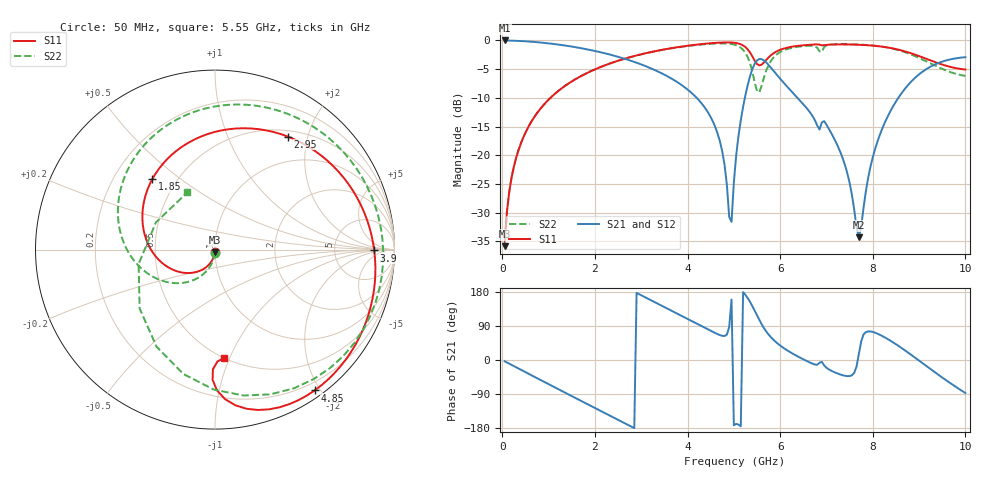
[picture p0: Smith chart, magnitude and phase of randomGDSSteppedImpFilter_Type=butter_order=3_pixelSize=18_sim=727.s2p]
! freq	dB(S11)	phase(S11)	dB(S12)	phase(S12)
!  dB(S21)	phase(S21)	dB(S22)	phase(S22)
!S-par simulation data
#  GHz  S  DB  R 50
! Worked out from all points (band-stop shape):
!   200 points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, 50 MHz to 10 GHz, reference 50 ohm
!   highest |S21| = -0.01 dB at 50 MHz (marker M1); lowest = -34.3 dB at 7.7 GHz (marker M2)
!   |S21| within 3 dB of the highest: start of sweep to 2.566 GHz; 9.896 GHz to end of sweep
!   lowest |S11| = -35.8 dB at 50 MHz (marker M3), VSWR 1.03, Z = 49.9 - j1.61 ohm
!   |S11| at or under -10 dB: start of sweep to 1.04 GHz
!   |S22| runs from -35.8 to -0.5 dB; largest |S21 - S12| = 0
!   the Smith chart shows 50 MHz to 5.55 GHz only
!   S11 on the Smith chart (normalised r, x): 50 MHz: 1.00, -0.03; 1.85 GHz: 0.37, +0.40; 2.95 GHz: 0.58, +1.68; 3.9 GHz: 17, -1; 4.85 GHz: 0.09, -1.93; 5.55 GHz: 0.50, -0.95
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0.05  -35.83 -93.8  -0.01 -3.3  -0.01 -3.3  -35.81 -92.5
0.2  -23.89 -105.5  -0.04 -12.9  -0.04 -12.9  -23.88 -100.7
0.5  -16.07 -128.5  -0.15 -32.0  -0.15 -32.0  -16.05 -116.6
1.75  -6.00 138.9  -1.43 -111.0  -1.43 -111.0  -5.99 177.5
1.85  -5.60 131.8  -1.58 -117.2  -1.58 -117.2  -5.59 172.1
2.95  -2.51 57.2  -4.03 174.0  -4.03 174.0  -2.52 109.0
3.4  -1.71 29.2  -5.56 145.9  -5.56 145.9  -1.73 80.8
3.9  -1.04 -0.3  -7.93 114.7  -7.93 114.7  -1.08 47.6
4.55  -0.46 -37.1  -14.16 74.0  -14.16 74.0  -0.56 -0.6
4.85  -0.34 -54.7  -25.18 67.0  -25.18 67.0  -0.55 -28.3
4.95  -0.36 -61.0  -31.61 159.5  -31.61 159.5  -0.64 -39.5
5.05  -0.45 -67.7  -20.07 -168.6  -20.07 -168.6  -0.85 -52.7
5.3  -1.56 -86.1  -7.76 163.2  -7.76 163.2  -2.91 -104.3
5.45  -3.52 -91.0  -4.06 130.0  -4.06 130.0  -7.27 -169.3
5.55  -4.35 -85.1  -3.23 105.6  -3.23 105.6  -9.02 115.8
5.95  -1.81 -88.7  -6.19 43.0  -6.19 43.0  -2.29 -11.7
6.7  -0.73 -127.2  -13.19 -9.7  -13.19 -9.7  -0.96 -78.5
7.3  -0.69 -159.4  -19.45 -38.3  -19.45 -38.3  -0.65 -111.9
7.7  -0.76 175.5  -34.31 15.4  -34.31 15.4  -0.72 -137.2
8.35  -1.27 125.0  -12.80 53.3  -12.80 53.3  -1.30 177.5
9.15  -3.18 48.2  -5.02 -15.3  -5.02 -15.3  -3.63 109.4
10  -5.07 -18.8  -2.92 -87.3  -2.92 -87.3  -6.18 27.8
